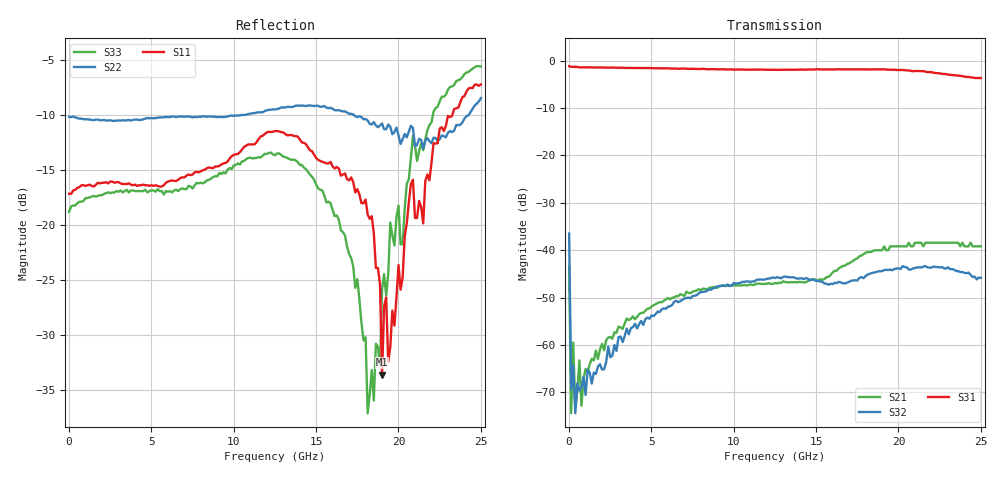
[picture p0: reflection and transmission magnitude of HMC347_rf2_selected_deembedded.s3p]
!Hittite Microwave Corporation
!12 Elizabeth Drive
!Chelmsford, MA 01824
!Tel: 978-250-3343
!Fax: 978-250-3373
!Device: HMC347, DC - 20 GHz GaAs MMIC SPDT Non-Reflective Switch
!Misc: Port1=RFC, Port2= RF1, Port3=RF2, RF2 ON, Data includes two K sonnectors, Bias: -5VDC
# MHZ S MA R 50
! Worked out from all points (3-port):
!   201 points, 10 MHz to 25 GHz, reference 50 ohm
!   strongest paths, dB at 10 MHz, 6.258 GHz, 12.51 GHz, 18.75 GHz, 25 GHz:
!     S31: -1.2, -1.7, -1.9, -1.9, -3.7
!     S32: -36.5, -51.5, -45.9, -44.5, -45.8
!     S21: -43.4, -50.0, -46.9, -40.0, -39.2
!   lowest |S11| = -33.6 dB at 19 GHz (marker M1), VSWR 1.04, Z = 52 + j0.806 ohm
!   |S11| at or under -10 dB: start of sweep to 23.26 GHz
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10  0.139 5.9  0.011 -29.7  0.902 -0.6
    0.006791 -121.7  0.311 176.5  0.02 40.6
    0.874 -2.2  0.015 -64.9  0.115 14.8
134.95  0.139 -3.5  0.0002946 41.7  0.86 -5.7
        0.0001915 -7.4  0.31 173.4  0.0006854 121.2
        0.861 -5.9  0.0003416 142.1  0.122 -3.6
259.9  0.144 -5.9  0.0006037 52.3  0.855 -10.6
       0.001064 39.6  0.312 167.4  8.331e-05 20.6
       0.861 -10.7  0.0006108 45.3  0.123 -6.0
4383.25  0.152 -139.3  0.002267 -44.5  0.838 -170.9
         0.002184 -45.5  0.301 -5.1  0.001721 58.3
         0.835 -170.6  0.001799 63.8  0.143 -151.4
7007.2  0.165 140.3  0.003438 -126.8  0.82 87.8
        0.003293 -124.7  0.311 -111.3  0.003122 -58.5
        0.825 87.8  0.003102 -57.8  0.146 120.0
12505  0.268 -52.9  0.004473 68.3  0.801 -125.5
       0.004502 68.6  0.336 25.6  0.005095 86.6
       0.801 -125.5  0.005092 86.5  0.208 -64.0
16128.55  0.181 174.7  0.006016 -19.8  0.811 91.2
          0.006065 -18.7  0.333 -104.2  0.004451 -38.0
          0.809 91.2  0.00453 -38.7  0.11 161.9
19002.4  0.021 21.7  0.01 -123.6  0.809 -24.5
         0.01 -123.4  0.29 160.2  0.006144 -130.8
         0.808 -24.3  0.006029 -130.1  0.051 -120.7
22501  0.275 85.0  0.012 98.8  0.731 -168.2
       0.012 98.4  0.246 79.1  0.006501 89.4
       0.733 -168.4  0.006594 88.2  0.366 102.4
25000  0.436 -2.5  0.011 -2.2  0.654 93.5
       0.011 -1.9  0.378 41.3  0.004777 -19.7
       0.654 93.6  0.005123 -24.7  0.526 15.5
